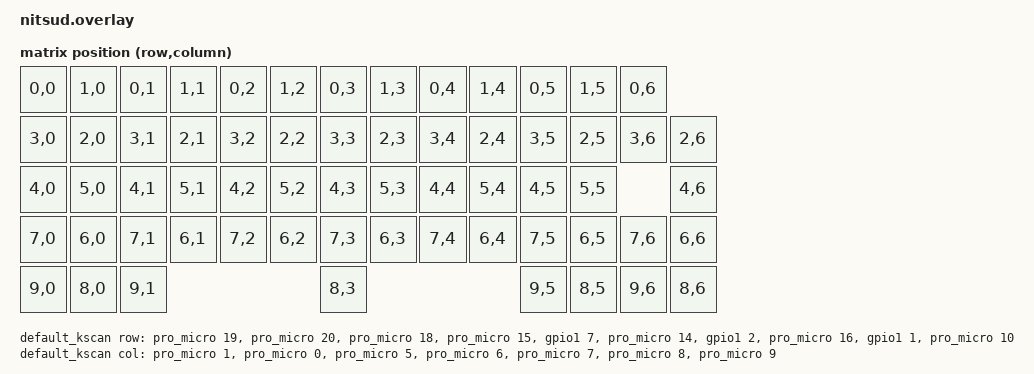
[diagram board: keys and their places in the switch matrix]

#include <dt-bindings/zmk/matrix_transform.h>
#include <dt-bindings/led/led.h>

/ {
    chosen {
        zmk,kscan = &default_kscan;
        zmk,matrix_transform = &default_transform;
        zmk,underglow = &led_strip;
    };

    default_kscan: kscan {
        compatible = "zmk,kscan-gpio-matrix";
        label = "default_kscan";
        diode-direction = "col2row";

        row-gpios
            = <&pro_micro 19  (GPIO_ACTIVE_HIGH | GPIO_PULL_DOWN)>,
              <&pro_micro 20  (GPIO_ACTIVE_HIGH | GPIO_PULL_DOWN)>,
              <&pro_micro 18  (GPIO_ACTIVE_HIGH | GPIO_PULL_DOWN)>,
              <&pro_micro 15  (GPIO_ACTIVE_HIGH | GPIO_PULL_DOWN)>,
              <&gpio1 7       (GPIO_ACTIVE_HIGH | GPIO_PULL_DOWN)>,
              <&pro_micro 14  (GPIO_ACTIVE_HIGH | GPIO_PULL_DOWN)>,
              <&gpio1 2       (GPIO_ACTIVE_HIGH | GPIO_PULL_DOWN)>,
              <&pro_micro 16  (GPIO_ACTIVE_HIGH | GPIO_PULL_DOWN)>,
              <&gpio1 1       (GPIO_ACTIVE_HIGH | GPIO_PULL_DOWN)>,
              <&pro_micro 10  (GPIO_ACTIVE_HIGH | GPIO_PULL_DOWN)>;
            

        col-gpios
            = <&pro_micro 1 GPIO_ACTIVE_HIGH>,
              <&pro_micro 0 GPIO_ACTIVE_HIGH>,
              <&pro_micro 5 GPIO_ACTIVE_HIGH>,
              <&pro_micro 6 GPIO_ACTIVE_HIGH>,
              <&pro_micro 7 GPIO_ACTIVE_HIGH>,
              <&pro_micro 8 GPIO_ACTIVE_HIGH>,
              <&pro_micro 9 GPIO_ACTIVE_HIGH>;
            
    };

    default_transform: keymap_transform_0 {
        compatible = "zmk,matrix-transform";
        columns = <7>;
        rows = <10>;
        map = <
            RC(0,0)  RC(1,0)  RC(0,1)  RC(1,1)  RC(0,2)  RC(1,2)  RC(0,3)  RC(1,3)  RC(0,4)  RC(1,4)  RC(0,5)  RC(1,5)  RC(0,6)  
            RC(3,0)  RC(2,0)  RC(3,1)  RC(2,1)  RC(3,2)  RC(2,2)  RC(3,3)  RC(2,3)  RC(3,4)  RC(2,4)  RC(3,5)  RC(2,5)  RC(3,6)  RC(2,6)
            RC(4,0)  RC(5,0)  RC(4,1)  RC(5,1)  RC(4,2)  RC(5,2)  RC(4,3)  RC(5,3)  RC(4,4)  RC(5,4)  RC(4,5)  RC(5,5)           RC(4,6)
            RC(7,0)  RC(6,0)  RC(7,1)  RC(6,1)  RC(7,2)  RC(6,2)  RC(7,3)  RC(6,3)  RC(7,4)  RC(6,4)  RC(7,5)  RC(6,5)  RC(7,6)  RC(6,6)
            RC(9,0)  RC(8,0)  RC(9,1)                             RC(8,3)                             RC(9,5)  RC(8,5)  RC(9,6)  RC(8,6)
        >;
    };
};

    &pinctrl {
        spi3_default: spi3_default {
            group1 {
                psels = <NRF_PSEL(SPIM_MOSI, 0, 31)>;
            };
        };

        spi3_sleep: spi3_sleep {
            group1 {
                psels = <NRF_PSEL(SPIM_MOSI, 0, 31)>;
                low-power-enable;
            };
        };
    };

    &spi3 {
        compatible = "nordic,nrf-spim";
        status = "okay";

        pinctrl-0 = <&spi3_default>;
        pinctrl-1 = <&spi3_sleep>;
        pinctrl-names = "default", "sleep";

        led_strip: ws2812@0 {
            compatible = "worldsemi,ws2812-spi";

            /* SPI */
            reg = <0>; /* ignored, but necessary for SPI bindings */
            spi-max-frequency = <4000000>;

            /* WS2812 */
            chain-length = <62>; /* number of LEDs */
            spi-one-frame = <0x70>;
            spi-zero-frame = <0x40>;
            color-mapping = <LED_COLOR_ID_GREEN
                            LED_COLOR_ID_RED
                            LED_COLOR_ID_BLUE>;
        };
    };
